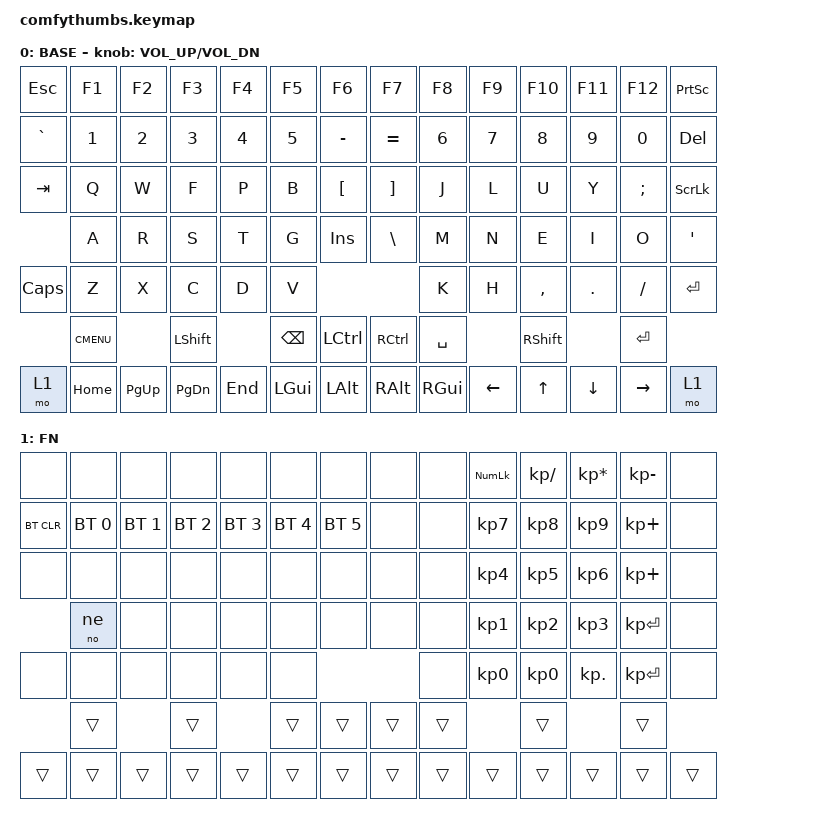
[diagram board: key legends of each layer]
/*
*
* Copyright (c) 2021 Malakai King
* SPDX-License-Identifier: MIT
*
*/

#include <behaviors.dtsi>
#include <dt-bindings/zmk/keys.h>
#include <dt-bindings/zmk/bt.h>

/ {
        keymap {
                compatible = "zmk,keymap";
                default_layer {
                        label = "BASE";
// -----------------------------------------------------------------------------------------
// |  TAB |  Q  |  W  |  E  |  R  |  T  |   |  Y  |  U   |  I  |  O  |  P  | BKSP |
// | SHFT |  A  |  S  |  D  |  F  |  G  |   |  H  |  J   |  K  |  L  |  ;  |  '   |
// | CTRL |  Z  |  X  |  C  |  V  |  B  |   |  N  |  M   |  ,  |  .  |  /  | SHFT |
//                    | GUI | LWR | ENT |   | SPC | RSE  | ALT |
                        bindings = <
   &kp ESC    &kp F1     &kp F2     &kp F3     &kp F4   &kp F5    &kp F6             &kp F7     &kp F8    &kp F9    &kp F10   &kp F11   &kp F12    &kp PSCRN
   &kp GRAVE  &kp N1     &kp N2     &kp N3     &kp N4   &kp N5    &kp MINUS          &kp EQUAL  &kp N6    &kp N7    &kp N8    &kp N9    &kp N0     &kp DEL
   &kp TAB    &kp Q      &kp W      &kp F      &kp P    &kp B     &kp LBKT           &kp RBKT   &kp J     &kp L     &kp U     &kp Y     &kp SEMI   &kp SLCK
              &kp A      &kp R      &kp S      &kp T    &kp G     &kp INS            &kp BSLH   &kp M     &kp N     &kp E     &kp I     &kp O      &kp SQT
   &kp CAPS   &kp Z      &kp X      &kp C      &kp D    &kp V                                   &kp K     &kp H     &kp CMMA  &kp DOT   &kp FSLH   &kp RET
              &kp K_CMENU           &kp LSHFT           &kp BSPC  &kp LCTRL          &kp RCTRL  &kp SPC             &kp RSHFT           &kp RET
   &mo 1      &kp HOME   &kp PG_UP  &kp PG_DN  &kp END  &kp LGUI  &kp LALT           &kp RALT   &kp RGUI  &kp LEFT  &kp UP    &kp DOWN  &kp RIGHT  &mo 1
                        >;
            		sensor-bindings = <&inc_dec_kp C_VOL_UP C_VOL_DN>;
                };
                lower_layer {
                        label = "FN";
// -----------------------------------------------------------------------------------------
// |  ESC |  1  |  2  |  3  |  4  |  5  |   |  6  |  7  |  8  |  9  |  0  | BKSP |
// | BTCLR| BT1 | BT2 | BT3 | BT4 | BT5 |   | LFT | DWN |  UP | RGT |     |      |
// | SHFT |     |     |     |     |     |   |     |     |     |     |     |      |
//                    | GUI |     | ENT |   | SPC |     | ALT |
                        bindings = <
   &none       &none         &none         &none         &none         &none         &none              &none      &none     &kp KP_NUMLOCK  &kp KP_DIVIDE  &kp KP_MULTIPLY  &kp KP_MINUS   &none
   &bt BT_CLR  &bt BT_SEL 0  &bt BT_SEL 1  &bt BT_SEL 2  &bt BT_SEL 3  &bt BT_SEL 4  &bt BT_SEL 5       &none      &none     &kp KP_N7       &kp KP_N8      &kp KP_N9        &kp KP_PLUS    &none
   &none       &none         &none         &none         &none         &none         &none              &none      &none     &kp KP_N4       &kp KP_N5      &kp KP_N6        &kp KP_PLUS    &none
               &no ne         &none         &none         &none        &none         &none              &none      &none     &kp KP_N1       &kp KP_N2      &kp KP_N3        &kp KP_ENTER   &none
   &none        &none         &none         &none         &none        &none                            &none      &kp KP_N0       &kp KP_N0      &kp KP_DOT       &kp KP_ENTER   &none
               &trans                 &trans                           &trans        &trans             &trans     &trans               &trans               &trans
   &trans      &trans       &trans         &trans        &trans        &trans        &trans             &trans     &trans     &trans    &trans          &trans         &trans           &trans
                        >;
                };
        };
};
